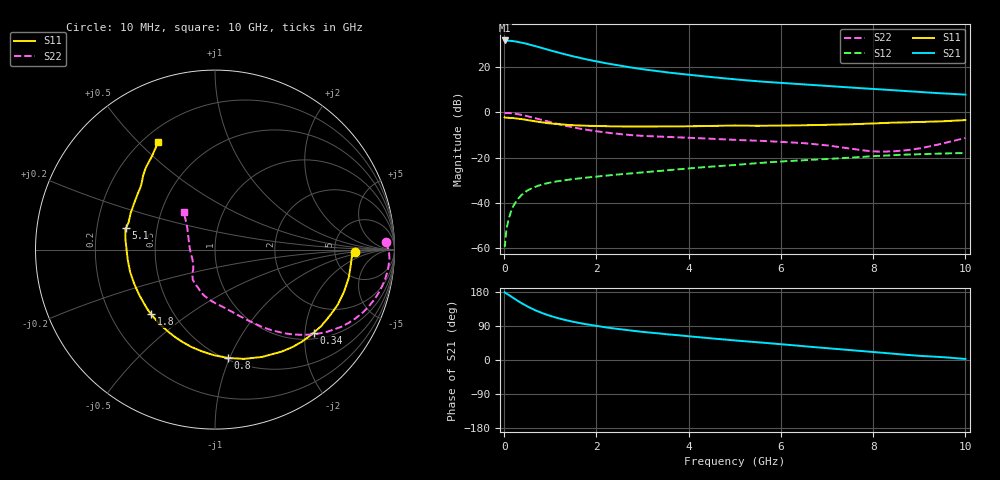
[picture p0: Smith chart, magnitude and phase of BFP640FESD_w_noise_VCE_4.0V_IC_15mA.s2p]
! Infineon Technologies  Discrete & RF Semiconductors
! BFP640FESD
! VCE =  4.0 V,  IC =  15 mA
! Common Emitter S-Parameters:  Jan 2016
# GHz  S  MA  R  50
!  f  S11  S21  S12  S22
! GHz  MAG  ANG  MAG  ANG  MAG  ANG  MAG  ANG
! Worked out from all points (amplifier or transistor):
!   233 points, 10 MHz to 10 GHz, reference 50 ohm
!   highest |S21| = 31.8 dB at 10 MHz (marker M1)
!   |S21| within 3 dB of that: start of sweep to 759.8 MHz
!   unconditionally stable (mu >= 1): start of sweep to 15.55 MHz; 4.606 GHz to end of sweep
!   at 200 MHz: K = 0.17, MSG = 36.5 dB, |S12| = -41.4 dB
!   at 1.74 GHz: K = 0.63, MSG = 26.3 dB, |S12| = -28.9 dB
!   at 10 GHz: K = 1.10, MAG = 11.0 dB, |S12| = -18.0 dB
!   lowest NFmin = 0.78 dB at 450 MHz
!   S11 on the Smith chart (normalised r, x): 10 MHz: 7.95, -0.60; 340 MHz: 1.15, -2.22; 800 MHz: 0.52, -0.99; 1.8 GHz: 0.38, -0.36; 5.1 GHz: 0.33, +0.11; 10 GHz: 0.26, +0.57
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0.01  0.7776 -1.1  39.01 178.9  0.0012 -0.1  0.9557 2.4
0.025  0.764 -2.8  38.76 177.2  0.0014 56.9  0.9704 -1.4
0.1  0.7614 -12.0  38.51 171.7  0.0044 72.8  0.9702 -6.8
0.2  0.7496 -24.2  37.73 163.5  0.0085 73.3  0.9483 -13.7
0.28  0.7319 -33.5  36.6 157.0  0.0115 70.2  0.9215 -18.8
0.34  0.7189 -40.2  35.68 152.6  0.0136 68.1  0.8979 -22.6
0.45  0.6929 -51.8  33.68 144.8  0.0171 64.0  0.8494 -28.7
0.6  0.6531 -66.3  30.73 135.3  0.021 59.3  0.7772 -36.0
0.8  0.6081 -83.0  26.88 124.9  0.0251 54.4  0.6868 -43.8
1  0.5715 -97.3  23.55 116.4  0.0281 51.1  0.6074 -50.2
1.2  0.5459 -109.3  20.72 109.3  0.0305 48.9  0.5413 -55.5
1.4  0.5272 -119.4  18.34 103.3  0.0326 47.6  0.4874 -60.1
1.68  0.5107 -130.7  15.74 96.5  0.0351 46.6  0.4301 -65.5
1.8  0.506 -134.8  14.76 93.9  0.0362 46.6  0.4109 -67.6
2.42  0.4902 -152.5  11.2 82.6  0.0419 46.6  0.339 -78.4
2.82  0.4876 -161.7  9.605 76.6  0.0454 46.9  0.3113 -85.3
3.4  0.4887 -171.7  7.982 69.6  0.051 47.3  0.2907 -92.7
4  0.4932 179.6  6.79 62.5  0.0576 47.6  0.2755 -98.2
5.1  0.5102 166.4  5.281 50.6  0.07 46.0  0.2448 -110.1
6.8  0.5259 146.5  3.951 33.3  0.091 40.3  0.1951 -130.0
8.4  0.5917 131.2  3.11 16.9  0.1131 33.4  0.1374 -174.6
10  0.6766 118.1  2.476 2.7  0.1264 23.6  0.2714 129.8
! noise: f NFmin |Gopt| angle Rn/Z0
0.45  0.78  0.07  1  0.09
2.4  0.82  0.04  141  0.09
5.5  1.04  0.25  172  0.08
10  1.62  0.44  -113  0.24
